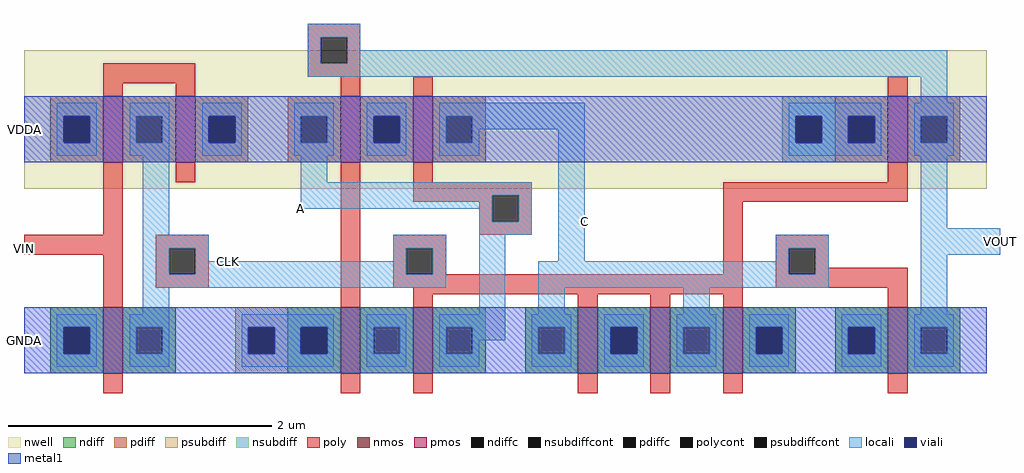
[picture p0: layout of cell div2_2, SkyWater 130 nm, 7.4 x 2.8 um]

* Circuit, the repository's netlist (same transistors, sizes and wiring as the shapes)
* NGSPICE file created from div2_2.ext - technology: sky130A

.subckt div2_2
X0 a_1720_n70# VOUT GNDA GNDA sky130_fd_pr__nfet_01v8 ad=0.1 pd=0.9 as=0.2 ps=1.8 w=0.5 l=0.15
X1 C CLK GNDA GNDA sky130_fd_pr__nfet_01v8 ad=0.1 pd=0.9 as=0.1 ps=0.9 w=0.5 l=0.15
X2 C A VDDA VDDA sky130_fd_pr__pfet_01v8 ad=0.2 pd=1.8 as=0.1 ps=0.9 w=0.5 l=0.15
X3 VOUT CLK VDDA VDDA sky130_fd_pr__pfet_01v8 ad=0.2 pd=1.8 as=0.2 ps=1.8 w=0.5 l=0.15
X4 VDDA VIN CLK VDDA sky130_fd_pr__pfet_01v8 ad=0.2 pd=1.8 as=0.1 ps=0.9 w=0.5 l=0.15
X5 CLK VIN GNDA GNDA sky130_fd_pr__nfet_01v8 ad=0.2 pd=1.8 as=0.2 ps=1.8 w=0.5 l=0.15
X6 GNDA CLK C GNDA sky130_fd_pr__nfet_01v8 ad=0.2 pd=1.8 as=0.1 ps=0.9 w=0.5 l=0.15
X7 VDDA VOUT A VDDA sky130_fd_pr__pfet_01v8 ad=0.1 pd=0.9 as=0.2 ps=1.8 w=0.5 l=0.15
X8 GNDA CLK C GNDA sky130_fd_pr__nfet_01v8 ad=0.1 pd=0.9 as=0.2 ps=1.8 w=0.5 l=0.15
X9 A CLK a_1720_n70# GNDA sky130_fd_pr__nfet_01v8 ad=0.2 pd=1.8 as=0.1 ps=0.9 w=0.5 l=0.15
X10 VOUT C GNDA GNDA sky130_fd_pr__nfet_01v8 ad=0.2 pd=1.8 as=0.2 ps=1.8 w=0.5 l=0.15
X11 CLK VIN VDDA VDDA sky130_fd_pr__pfet_01v8 ad=0.1 pd=0.9 as=0.2 ps=1.8 w=0.5 l=0.15
.ends

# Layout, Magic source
magic
tech sky130A
<< nwell >>
rect 605 105 1335 210
<< nmos >>
rect 665 -35 680 15
rect 845 -35 860 15
rect 900 -35 915 15
rect 1025 -35 1040 15
rect 1080 -35 1095 15
rect 1135 -35 1150 15
rect 1260 -35 1275 15
<< pmos >>
rect 665 125 680 175
rect 720 125 735 175
rect 845 125 860 175
rect 900 125 915 175
rect 1260 125 1275 175
<< ndiff >>
rect 625 0 665 15
rect 625 -20 635 0
rect 655 -20 665 0
rect 625 -35 665 -20
rect 680 0 720 15
rect 680 -20 690 0
rect 710 -20 720 0
rect 680 -35 720 -20
rect 805 0 845 15
rect 805 -20 815 0
rect 835 -20 845 0
rect 805 -35 845 -20
rect 860 0 900 15
rect 860 -20 870 0
rect 890 -20 900 0
rect 860 -35 900 -20
rect 915 0 955 15
rect 915 -20 925 0
rect 945 -20 955 0
rect 915 -35 955 -20
rect 985 0 1025 15
rect 985 -20 995 0
rect 1015 -20 1025 0
rect 985 -35 1025 -20
rect 1040 0 1080 15
rect 1040 -20 1050 0
rect 1070 -20 1080 0
rect 1040 -35 1080 -20
rect 1095 0 1135 15
rect 1095 -20 1105 0
rect 1125 -20 1135 0
rect 1095 -35 1135 -20
rect 1150 0 1190 15
rect 1150 -20 1160 0
rect 1180 -20 1190 0
rect 1150 -35 1190 -20
rect 1220 0 1260 15
rect 1220 -20 1230 0
rect 1250 -20 1260 0
rect 1220 -35 1260 -20
rect 1275 0 1315 15
rect 1275 -20 1285 0
rect 1305 -20 1315 0
rect 1275 -35 1315 -20
<< pdiff >>
rect 625 160 665 175
rect 625 140 635 160
rect 655 140 665 160
rect 625 125 665 140
rect 680 160 720 175
rect 680 140 690 160
rect 710 140 720 160
rect 680 125 720 140
rect 735 160 775 175
rect 735 140 745 160
rect 765 140 775 160
rect 735 125 775 140
rect 805 160 845 175
rect 805 140 815 160
rect 835 140 845 160
rect 805 125 845 140
rect 860 160 900 175
rect 860 140 870 160
rect 890 140 900 160
rect 860 125 900 140
rect 915 160 955 175
rect 915 140 925 160
rect 945 140 955 160
rect 915 125 955 140
rect 1220 160 1260 175
rect 1220 140 1230 160
rect 1250 140 1260 160
rect 1220 125 1260 140
rect 1275 160 1315 175
rect 1275 140 1285 160
rect 1305 140 1315 160
rect 1275 125 1315 140
<< ndiffc >>
rect 635 -20 655 0
rect 690 -20 710 0
rect 815 -20 835 0
rect 870 -20 890 0
rect 925 -20 945 0
rect 995 -20 1015 0
rect 1050 -20 1070 0
rect 1105 -20 1125 0
rect 1160 -20 1180 0
rect 1230 -20 1250 0
rect 1285 -20 1305 0
<< pdiffc >>
rect 635 140 655 160
rect 690 140 710 160
rect 745 140 765 160
rect 815 140 835 160
rect 870 140 890 160
rect 925 140 945 160
rect 1230 140 1250 160
rect 1285 140 1305 160
<< psubdiff >>
rect 765 0 805 15
rect 765 -20 775 0
rect 795 -20 805 0
rect 765 -35 805 -20
<< nsubdiff >>
rect 1180 160 1220 175
rect 1180 140 1190 160
rect 1210 140 1220 160
rect 1180 125 1220 140
<< psubdiffcont >>
rect 775 -20 795 0
<< nsubdiffcont >>
rect 1190 140 1210 160
<< poly >>
rect 820 220 860 230
rect 820 200 830 220
rect 850 200 860 220
rect 665 185 735 200
rect 820 190 860 200
rect 665 175 680 185
rect 720 175 735 185
rect 845 175 860 190
rect 900 175 915 190
rect 1260 175 1275 190
rect 665 70 680 125
rect 720 110 735 125
rect 605 55 680 70
rect 665 15 680 55
rect 705 60 745 70
rect 705 40 715 60
rect 735 40 745 60
rect 705 30 745 40
rect 845 15 860 125
rect 900 110 915 125
rect 1260 110 1275 125
rect 900 100 990 110
rect 900 95 960 100
rect 950 80 960 95
rect 980 80 990 100
rect 950 70 990 80
rect 1135 95 1275 110
rect 885 60 925 70
rect 885 40 895 60
rect 915 40 925 60
rect 1135 40 1150 95
rect 885 30 1150 40
rect 1175 60 1215 70
rect 1175 40 1185 60
rect 1205 45 1215 60
rect 1205 40 1275 45
rect 1175 30 1275 40
rect 900 25 1150 30
rect 900 15 915 25
rect 1025 15 1040 25
rect 1080 15 1095 25
rect 1135 15 1150 25
rect 1260 15 1275 30
rect 665 -50 680 -35
rect 845 -50 860 -35
rect 900 -50 915 -35
rect 1025 -50 1040 -35
rect 1080 -50 1095 -35
rect 1135 -50 1150 -35
rect 1260 -50 1275 -35
<< polycont >>
rect 830 200 850 220
rect 715 40 735 60
rect 960 80 980 100
rect 895 40 915 60
rect 1185 40 1205 60
<< locali >>
rect 820 220 860 230
rect 820 200 830 220
rect 850 210 860 220
rect 850 200 1305 210
rect 820 190 1305 200
rect 1285 170 1305 190
rect 630 160 660 170
rect 630 140 635 160
rect 655 140 660 160
rect 630 130 660 140
rect 685 160 715 170
rect 685 140 690 160
rect 710 140 715 160
rect 685 130 715 140
rect 740 160 770 170
rect 740 140 745 160
rect 765 140 770 160
rect 740 130 770 140
rect 810 160 840 170
rect 810 140 815 160
rect 835 140 840 160
rect 810 130 840 140
rect 865 160 895 170
rect 865 140 870 160
rect 890 140 895 160
rect 865 130 895 140
rect 920 160 1030 170
rect 920 140 925 160
rect 945 150 1030 160
rect 945 140 950 150
rect 920 130 950 140
rect 695 70 715 130
rect 815 110 835 130
rect 815 100 990 110
rect 815 90 960 100
rect 950 80 960 90
rect 980 80 990 100
rect 950 70 990 80
rect 695 60 745 70
rect 695 40 715 60
rect 735 50 745 60
rect 885 60 925 70
rect 885 50 895 60
rect 735 40 895 50
rect 915 40 925 60
rect 695 30 925 40
rect 695 10 715 30
rect 950 10 970 70
rect 1010 50 1030 150
rect 1185 160 1255 170
rect 1185 140 1190 160
rect 1210 140 1230 160
rect 1250 140 1255 160
rect 1185 130 1255 140
rect 1280 160 1310 170
rect 1280 140 1285 160
rect 1305 140 1310 160
rect 1280 130 1310 140
rect 1285 75 1305 130
rect 1175 60 1215 70
rect 1175 50 1185 60
rect 995 40 1185 50
rect 1205 40 1215 60
rect 995 30 1215 40
rect 1285 55 1345 75
rect 995 10 1015 30
rect 1105 10 1125 30
rect 1285 10 1305 55
rect 630 0 660 10
rect 630 -20 635 0
rect 655 -20 660 0
rect 630 -30 660 -20
rect 685 0 715 10
rect 685 -20 690 0
rect 710 -20 715 0
rect 685 -30 715 -20
rect 770 0 840 10
rect 770 -20 775 0
rect 795 -20 815 0
rect 835 -20 840 0
rect 770 -30 840 -20
rect 865 0 895 10
rect 865 -20 870 0
rect 890 -20 895 0
rect 865 -30 895 -20
rect 920 0 970 10
rect 920 -20 925 0
rect 945 -10 970 0
rect 990 0 1020 10
rect 945 -20 950 -10
rect 920 -30 950 -20
rect 990 -20 995 0
rect 1015 -20 1020 0
rect 990 -30 1020 -20
rect 1045 0 1075 10
rect 1045 -20 1050 0
rect 1070 -20 1075 0
rect 1045 -30 1075 -20
rect 1100 0 1130 10
rect 1100 -20 1105 0
rect 1125 -20 1130 0
rect 1100 -30 1130 -20
rect 1155 0 1185 10
rect 1155 -20 1160 0
rect 1180 -20 1185 0
rect 1155 -30 1185 -20
rect 1225 0 1255 10
rect 1225 -20 1230 0
rect 1250 -20 1255 0
rect 1225 -30 1255 -20
rect 1280 0 1310 10
rect 1280 -20 1285 0
rect 1305 -20 1310 0
rect 1280 -30 1310 -20
<< viali >>
rect 635 140 655 160
rect 745 140 765 160
rect 870 140 890 160
rect 1190 140 1210 160
rect 1230 140 1250 160
rect 635 -20 655 0
rect 775 -20 795 0
rect 815 -20 835 0
rect 1050 -20 1070 0
rect 1160 -20 1180 0
rect 1230 -20 1250 0
<< metal1 >>
rect 605 160 1335 175
rect 605 140 635 160
rect 655 140 745 160
rect 765 140 870 160
rect 890 140 1190 160
rect 1210 140 1230 160
rect 1250 140 1335 160
rect 605 125 1335 140
rect 605 0 1335 15
rect 605 -20 635 0
rect 655 -20 775 0
rect 795 -20 815 0
rect 835 -20 1050 0
rect 1070 -20 1160 0
rect 1180 -20 1230 0
rect 1250 -20 1335 0
rect 605 -35 1335 -20
<< labels >>
flabel metal1 605 150 605 150 7 FreeSans 160 0 -80 0 VDDA
flabel metal1 605 -10 605 -10 7 FreeSans 160 0 -80 0 GNDA
flabel poly 605 60 605 60 7 FreeSans 160 0 -80 0 VIN
flabel locali 1345 65 1345 65 3 FreeSans 160 0 80 0 VOUT
flabel locali 1030 80 1030 80 3 FreeSans 160 0 80 0 C
flabel locali 760 50 760 50 1 FreeSans 160 0 0 80 CLK
flabel locali 815 90 815 90 5 FreeSans 160 0 0 0 A
<< end >>
